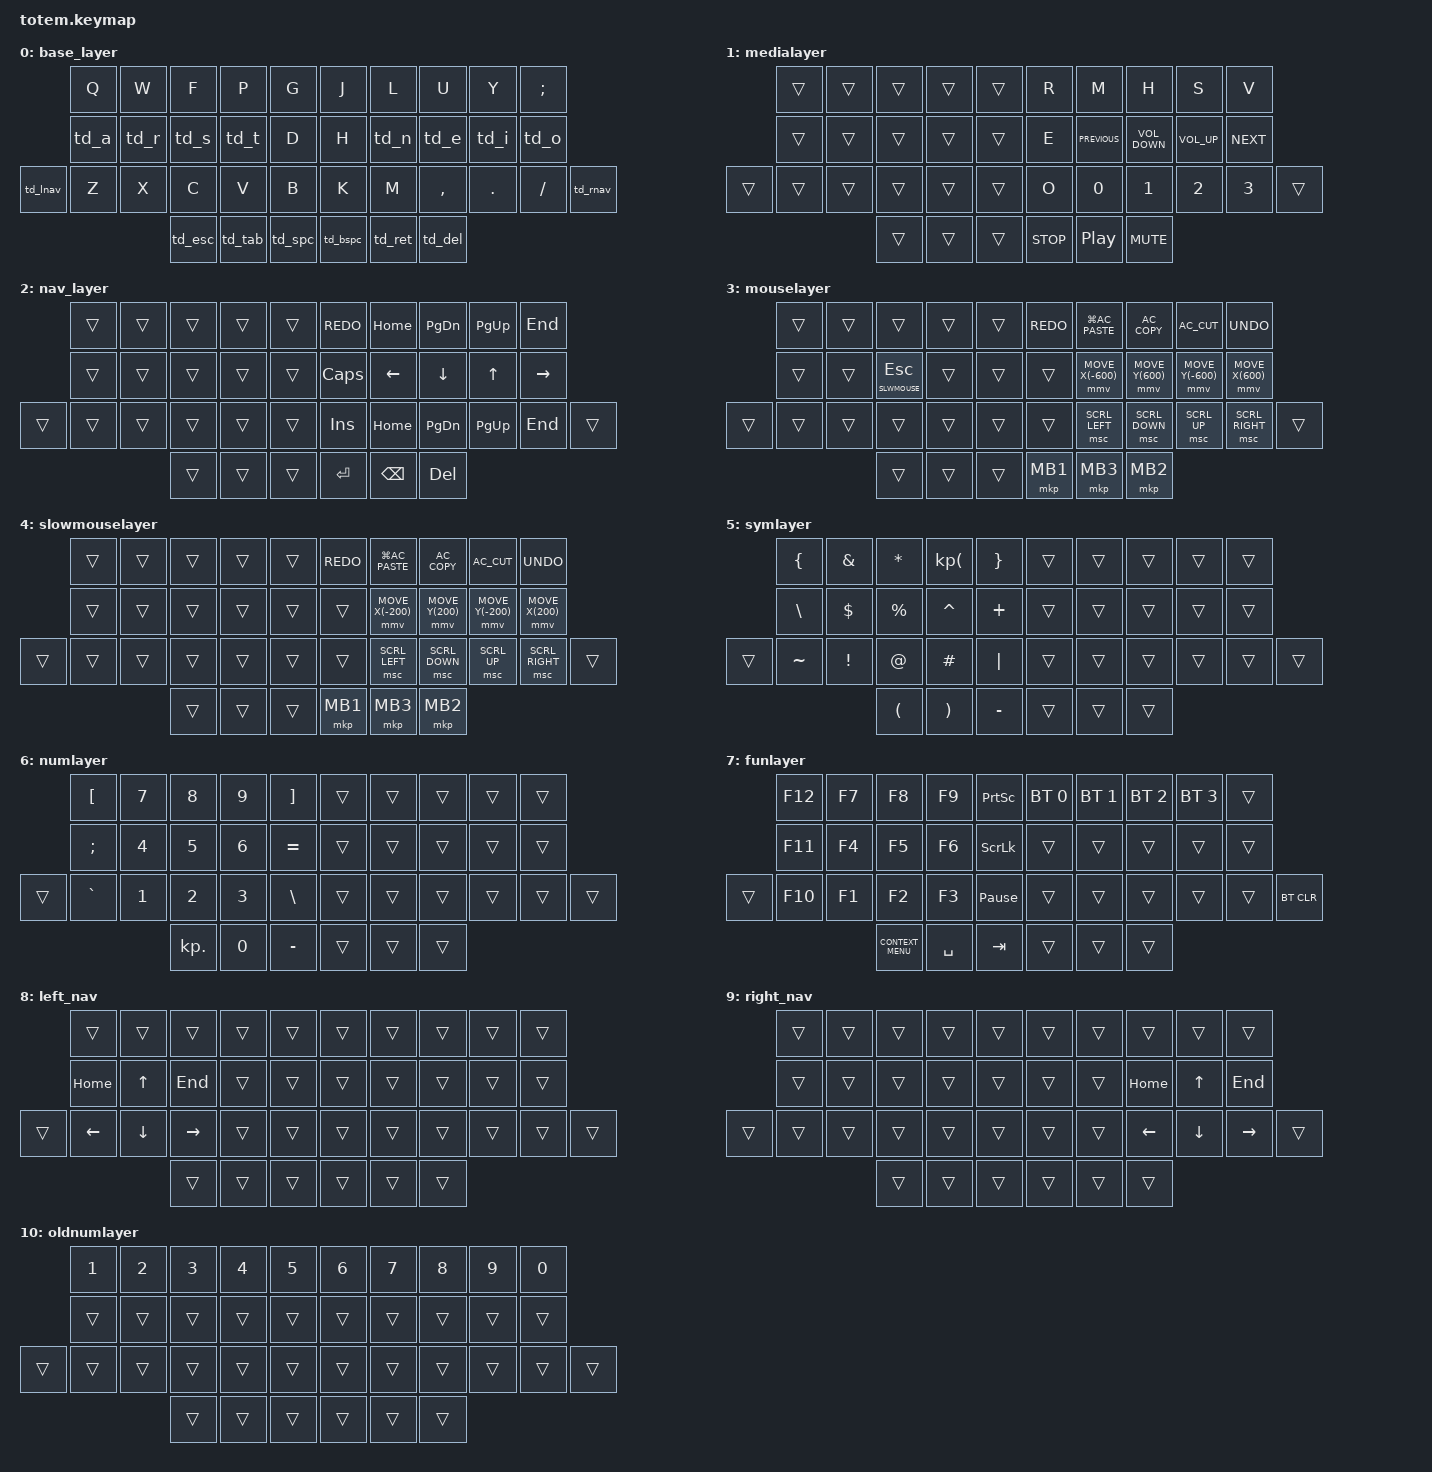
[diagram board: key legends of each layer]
//
//                                                        ▀▀▀▀▀     ▀▀▀▀▀          ▀▀█▀▀
//                                                        ▄▀▀▀▄  ▄  ▄▀▀▀▄  ▄  ▄▀▀▀▄  █  ▄▀▀▀▄
//                                                        █   █  █  █   █  █  █   █  █  █   █
//                                                         ▀▀▀   █   ▀▀▀   █   ▀▀▀   ▀   ▀▀▀
//                                                               █      ▄▄▄█▄▄▄    █   █  
//                                                               ▀      █  █  █     █▄█
//                                                             ▀▀▀▀▀    █  █  █      ▀
//                                                                      ▀  ▀  ▀
//
// ▄▄▄▄▄▄▄▄▄▄▄▄▄▄▄▄▄▄▄▄▄▄▄▄▄▄▄▄▄▄▄▄▄▄▄▄▄▄▄▄▄▄▄▄▄▄▄▄▄▄▄▄▄▄▄▄▄▄▄▄▄▄▄▄▄▄▄▄▄▄▄▄▄▄▄▄▄▄▄▄▄▄▄▄▄▄▄▄▄▄▄▄▄▄▄▄▄▄▄▄▄▄▄▄▄▄▄▄▄▄▄▄▄▄▄▄▄▄▄▄▄▄▄▄▄▄▄▄▄▄▄▄▄▄▄▄▄▄▄▄▄▄▄▄▄▄▄▄▄
#define ZMK_POINTING_DEFAULT_MOVE_VAL 15000
#define ZMK_POINTING_DEFAULT_SCRL_VAL 20
#include <behaviors.dtsi>
#include <dt-bindings/zmk/bt.h>
#include <dt-bindings/zmk/keys.h>
#include <dt-bindings/zmk/pointing.h>
#include <input/processors.dtsi>

#define BASE 0
#define MEDIA  1
#define NAV  2
#define MOUSE  3
#define SLWMOUSE 4
#define SYM 5
#define NUM 6
#define FUN 7
#define LNAV 8
#define RNAV 9
#define NNUM 10

&mt {
    quick-tap-ms = <150>;
    flavor = "tap-preferred";
    tapping-term-ms = <200>;
};

/ {
    combos {
        compatible = "zmk,combos";

        combo_esc {
            timeout-ms = <50>;
            key-positions = <0 1>;
            bindings = <&kp ESC>;
        };
    };

    macros {
        gif: gif {
            compatible = "zmk,behavior-macro";
            #binding-cells = <0>;
            bindings =
                <&macro_press>,
                <&kp LSHFT>,
                <&macro_tap>,
                <&kp N2>,
                <&macro_release>,
                <&kp LSHFT>,
                <&macro_tap>,
                <&kp G &kp I &kp F>;
        };
    };

    behaviors {
        mup: mup {
            compatible = "zmk,behavior-mod-morph";
            #binding-cells = <0>;
            bindings = <&mmv MOVE_Y(-600)>, <&mmv  MOVE_Y(-200)>;
            mods = <(MOD_LSFT|MOD_RSFT)>;
        };
        
        mdown: mdown {
            compatible = "zmk,behavior-mod-morph";
            #binding-cells = <0>;
            bindings = <&mmv MOVE_Y(600)>, <&mmv  MOVE_Y(200)>;
            mods = <(MOD_LSFT|MOD_RSFT)>;
        };

         mright: mright {
            compatible = "zmk,behavior-mod-morph";
            #binding-cells = <0>;
            bindings = <&mmv MOVE_X(600)>, <&mmv  MOVE_X(200)>;
            mods = <(MOD_LSFT|MOD_RSFT)>;
        };

         mleft: mleft {
            compatible = "zmk,behavior-mod-morph";
            #binding-cells = <0>;
            bindings = <&mmv MOVE_X(-600)>, <&mmv  MOVE_X(-200)>;
            mods = <(MOD_LSFT|MOD_RSFT)>;
        };

        mtl: mtl {
            compatible = "zmk,behavior-hold-tap";
            bindings = <&kp>, <&kp>;

            #binding-cells = <2>;
            tapping-term-ms = <200>;
            quick-tap-ms = <150>;
            flavor = "tap-preferred";
            hold-trigger-key-positions = <5 6 8 15 16 17 18 19 26 27 28 29 30 35 36 37 5 6 7 8 9 15 16 17 18 19 26 27 28 29 30 31 35 36 37>;
        };

        mtr: mtr {
            compatible = "zmk,behavior-hold-tap";
            bindings = <&kp>, <&kp>;

            #binding-cells = <2>;
            tapping-term-ms = <200>;
            quick-tap-ms = <100>;
            flavor = "tap-preferred";
            hold-trigger-key-positions = <0 1 2 3 4 10 11 12 13 14 20 21 22 23 24 25 32 33 34>;
        };
                    // ── tap dances for home row mods (double-tap+hold = repeat key) ─
        td_a: td_a { compatible = "zmk,behavior-tap-dance"; #binding-cells = <0>; tapping-term-ms = <200>; bindings = <&mtl LEFT_META A>, <&kp A>; };
        td_r: td_r { compatible = "zmk,behavior-tap-dance"; #binding-cells = <0>; tapping-term-ms = <200>; bindings = <&mtl LCTRL R>,    <&kp R>; };
        td_s: td_s { compatible = "zmk,behavior-tap-dance"; #binding-cells = <0>; tapping-term-ms = <200>; bindings = <&mtl LALT S>,     <&kp S>; };
        td_t: td_t { compatible = "zmk,behavior-tap-dance"; #binding-cells = <0>; tapping-term-ms = <200>; bindings = <&mtl LSHFT T>,    <&kp T>; };

        td_n: td_n { compatible = "zmk,behavior-tap-dance"; #binding-cells = <0>; tapping-term-ms = <200>; bindings = <&mtr RSHFT N>,  <&kp N>; };
        td_e: td_e { compatible = "zmk,behavior-tap-dance"; #binding-cells = <0>; tapping-term-ms = <200>; bindings = <&mtr LALT E>,   <&kp E>; };
        td_i: td_i { compatible = "zmk,behavior-tap-dance"; #binding-cells = <0>; tapping-term-ms = <200>; bindings = <&mtr LCTRL I>,  <&kp I>; };
        td_o: td_o { compatible = "zmk,behavior-tap-dance"; #binding-cells = <0>; tapping-term-ms = <200>; bindings = <&mtr LCMD O>,   <&kp O>; };

        // ── tap dances for layer-tap keys (double-tap+hold = repeat tap key) ─
        td_esc:  td_esc  { compatible = "zmk,behavior-tap-dance"; #binding-cells = <0>; tapping-term-ms = <200>; bindings = <&lt MEDIA ESCAPE>,  <&kp ESCAPE>; };
        td_tab:  td_tab  { compatible = "zmk,behavior-tap-dance"; #binding-cells = <0>; tapping-term-ms = <200>; bindings = <&lt MOUSE TAB>,      <&kp TAB>; };
        td_spc:  td_spc  { compatible = "zmk,behavior-tap-dance"; #binding-cells = <0>; tapping-term-ms = <200>; bindings = <&lt NAV SPACE>,       <&kp SPACE>; };
        td_bspc: td_bspc { compatible = "zmk,behavior-tap-dance"; #binding-cells = <0>; tapping-term-ms = <200>; bindings = <&lt SYM BACKSPACE>,   <&kp BACKSPACE>; };
        td_ret:  td_ret  { compatible = "zmk,behavior-tap-dance"; #binding-cells = <0>; tapping-term-ms = <200>; bindings = <&lt NUM RETURN>,      <&kp RETURN>; };
        td_del:  td_del  { compatible = "zmk,behavior-tap-dance"; #binding-cells = <0>; tapping-term-ms = <200>; bindings = <&lt FUN DELETE>,      <&kp DELETE>; };

        // ── thumb ESC (left outer thumb, was lt LNAV ESC) ───────────────
        td_lnav: td_lnav { compatible = "zmk,behavior-tap-dance"; #binding-cells = <0>; tapping-term-ms = <200>; bindings = <&lt LNAV ESC>, <&kp ESC>; };
        td_rnav: td_rnav { compatible = "zmk,behavior-tap-dance"; #binding-cells = <0>; tapping-term-ms = <200>; bindings = <&lt RNAV SINGLE_QUOTE>, <&kp SINGLE_QUOTE>; };
    };

    keymap {
        compatible = "zmk,keymap";

        // ▄▄▄▄▄▄▄▄▄▄▄▄▄▄▄▄▄▄▄▄▄▄▄▄▄▄▄▄▄▄▄▄▄▄▄▄▄▄▄▄▄▄▄▄▄▄▄▄▄▄▄▄▄▄▄▄▄▄▄▄▄▄▄▄▄▄▄▄▄▄▄▄▄▄▄▄▄▄▄▄▄▄▄▄▄▄▄▄▄▄▄▄▄▄▄▄▄▄▄▄▄▄▄▄▄▄▄▄▄▄▄▄▄▄▄▄▄▄▄▄▄▄▄▄▄▄▄▄▄▄▄▄▄▄▄▄▄▄▄▄▄▄▄▄▄▄▄▄▄

        base_layer {
            // ┏━━━━━━━━━━━━━━━━━━━━━━━━━━━━━━━━━━━━━━━┓
            // ┗━━━━━━━━━━━━━━━━━━━━━━━━━━━━━━━━━━━━━━━┛
            //             ┏━━━━━━━━━━━┳━━━━━━━━━━━┳━━━━━━━━━━━┳━━━━━━━━━━━┳━━━━━━━━━━━┓   ┏━━━━━━━━━━━┳━━━━━━━━━━━┳━━━━━━━━━━━┳━━━━━━━━━━━┳━━━━━━━━━━━┓
            //             ┃     Q     ┃     W     ┃     F     ┃     P     ┃     G     ┃   ┃     J     ┃     L     ┃     U     ┃     Y     ┃     ;     ┃
            //             ┣━━━━━━━━━━━╋━━━━━━━━━━━╋━━━━━━━━━━━╋━━━━━━━━━━━╋━━━━━━━━━━━┫   ┣━━━━━━━━━━━╋━━━━━━━━━━━╋━━━━━━━━━━━╋━━━━━━━━━━━╋━━━━━━━━━━━┫
            //             ┃     A     ┃     R     ┃     S     ┃     T     ┃     D     ┃   ┃     H     ┃     N     ┃     E     ┃     I     ┃     O     ┃
            // ┏━━━━━━━━━━━╋━━━━━━━━━━━╋━━━━━━━━━━━╋━━━━━━━━━━━╋━━━━━━━━━━━╋━━━━━━━━━━━┫   ┣━━━━━━━━━━━╋━━━━━━━━━━━╋━━━━━━━━━━━╋━━━━━━━━━━━╋━━━━━━━━━━━╋━━━━━━━━━━━┓
            // ┃     Q     ┃     Z     ┃     X     ┃     C     ┃     V     ┃     B     ┃   ┃     K     ┃     M     ┃     ,     ┃     .     ┃     /     ┃     \     ┃
            // ┗━━━━━━━━━━━┻━━━━━━━━━━━┻━━━━━━━━━━━╋━━━━━━━━━━━╋━━━━━━━━━━━╋━━━━━━━━━━━┫   ┣━━━━━━━━━━━╋━━━━━━━━━━━╋━━━━━━━━━━━╋━━━━━━━━━━━┻━━━━━━━━━━━┻━━━━━━━━━━━┛
            //                                     ┃    DEL    ┃    TAB    ┃    SPC    ┃   ┃   ENTER   ┃           ┃   BSPC    ┃
            //                                     ┗━━━━━━━━━━━┻━━━━━━━━━━━┻━━━━━━━━━━━┛   ┗━━━━━━━━━━━┻━━━━━━━━━━━┻━━━━━━━━━━━┛

            bindings = <
            &kp Q    &kp W    &kp F    &kp P    &kp G      &kp J     &kp L    &kp U      &kp Y     &kp SEMI
           &td_a    &td_r    &td_s    &td_t    &kp D      &kp H     &td_n    &td_e      &td_i     &td_o
&td_lnav   &kp Z    &kp X  &kp C  &kp V   &kp B      &kp K     &kp M    &kp COMMA  &kp DOT  &kp FSLH  &td_rnav
                             &td_esc  &td_tab  &td_spc    &td_bspc  &td_ret  &td_del
            >;
        };

        medialayer {
            bindings = <
        &trans  &trans  &trans  &trans  &trans    &kp R       &kp M             &kp H              &kp S            &kp V
        &trans  &trans  &trans  &trans  &trans    &kp E       &kp K_PREVIOUS    &kp C_VOLUME_DOWN  &kp C_VOLUME_UP  &kp C_NEXT
&trans  &trans  &trans  &trans  &trans  &trans    &kp O       &kp N0            &kp N1             &kp N2           &kp N3      &trans
                        &trans  &trans  &trans    &kp C_STOP  &kp C_PLAY_PAUSE  &kp C_MUTE
            >;
        };

        nav_layer {
            // ┏━━━━━━━━━━━━━━━━━━━━━━━━━━━━━━━━━━━━━━━┓

            // ┗━━━━━━━━━━━━━━━━━━━━━━━━━━━━━━━━━━━━━━━┛
            //             ┏━━━━━━━━━━━┳━━━━━━━━━━━┳━━━━━━━━━━━┳━━━━━━━━━━━┳━━━━━━━━━━━┓   ┏━━━━━━━━━━━┳━━━━━━━━━━━┳━━━━━━━━━━━┳━━━━━━━━━━━┳━━━━━━━━━━━┓
            //             ┃           ┃           ┃     UP    ┃           ┃     {     ┃   ┃     }     ┃     7     ┃     8     ┃     9     ┃     +     ┃
            //             ┣━━━━━━━━━━━╋━━━━━━━━━━━╋━━━━━━━━━━━╋━━━━━━━━━━━╋━━━━━━━━━━━┫   ┣━━━━━━━━━━━╋━━━━━━━━━━━╋━━━━━━━━━━━╋━━━━━━━━━━━╋━━━━━━━━━━━┫
            //             ┃   SHIFT   ┃   LEFT    ┃    DOWN   ┃   RIGHT   ┃     [     ┃   ┃     ]     ┃     4     ┃     5     ┃     6     ┃     -     ┃
            // ┏━━━━━━━━━━━╋━━━━━━━━━━━╋━━━━━━━━━━━╋━━━━━━━━━━━╋━━━━━━━━━━━╋━━━━━━━━━━━┫   ┣━━━━━━━━━━━╋━━━━━━━━━━━╋━━━━━━━━━━━╋━━━━━━━━━━━╋━━━━━━━━━━━╋━━━━━━━━━━━┓
            // ┃           ┃           ┃   P UP    ┃  C LOCK   ┃  P DOWN   ┃     (     ┃   ┃     )     ┃     1     ┃     2     ┃     3     ┃     *     ┃           ┃
            // ┗━━━━━━━━━━━┻━━━━━━━━━━━┻━━━━━━━━━━━╋━━━━━━━━━━━╋━━━━━━━━━━━╋━━━━━━━━━━━┫   ┣━━━━━━━━━━━╋━━━━━━━━━━━╋━━━━━━━━━━━╋━━━━━━━━━━━┻━━━━━━━━━━━┻━━━━━━━━━━━┛
            //                                     ┃           ┃    TAB    ┃    SPC    ┃   ┃    DEL    ┃     0     ┃           ┃
            //                                     ┗━━━━━━━━━━━┻━━━━━━━━━━━┻━━━━━━━━━━━┛   ┗━━━━━━━━━━━┻━━━━━━━━━━━┻━━━━━━━━━━━┛

            bindings = <
        &trans  &trans  &trans  &trans  &trans    &kp K_REDO    &kp HOME        &kp PG_DN      &kp PG_UP     &kp END
        &trans  &trans  &trans  &trans  &trans    &kp CAPSLOCK  &kp LEFT        &kp DOWN       &kp UP_ARROW  &kp RIGHT
&trans  &trans  &trans  &trans  &trans  &trans    &kp INSERT    &kp HOME        &kp PG_DN      &kp PAGE_UP   &kp END     &trans
                        &trans  &trans  &trans    &kp ENTER     &kp BACKSPACE   &kp DELETE
            >;
        };

        mouselayer {
            bindings = <
        &trans  &trans  &trans  &trans  &trans    &kp K_REDO  &kp LG(C_AC_PASTE)  &kp C_AC_COPY   &kp C_AC_CUT  &kp K_UNDO
        &trans  &trans  &lt SLWMOUSE ESCAPE  &trans  &trans   &trans      &mmv MOVE_X(-600)  &mmv MOVE_Y(600)  &mmv MOVE_Y(-600)  &mmv MOVE_X(600)
&trans  &trans  &trans  &trans  &trans  &trans    &trans      &msc SCRL_LEFT    &msc SCRL_DOWN  &msc SCRL_UP  &msc SCRL_RIGHT  &trans
                        &trans  &trans  &trans    &mkp MB1    &mkp MB3            &mkp MB2
            >;
        };

        slowmouselayer {
            bindings = <
        &trans  &trans  &trans  &trans  &trans    &kp K_REDO  &kp LG(C_AC_PASTE)  &kp C_AC_COPY   &kp C_AC_CUT  &kp K_UNDO
        &trans  &trans  &trans  &trans  &trans   &trans      &mmv MOVE_X(-200)  &mmv MOVE_Y(200)  &mmv MOVE_Y(-200)  &mmv MOVE_X(200)
&trans  &trans  &trans  &trans  &trans  &trans    &trans      &msc SCRL_LEFT    &msc SCRL_DOWN  &msc SCRL_UP  &msc SCRL_RIGHT  &trans
                        &trans  &trans  &trans    &mkp MB1    &mkp MB3            &mkp MB2
            >;
        };

        symlayer {
            bindings = <
        &kp LEFT_BRACE  &kp AMPERSAND  &kp ASTERISK  &kp KP_LPAR  &kp RIGHT_BRACE    &trans  &trans  &trans  &trans  &trans
        &kp BACKSLASH   &kp DOLLAR     &kp PERCENT   &kp CARET    &kp PLUS           &trans  &trans  &trans  &trans  &trans
&trans  &kp TILDE       &kp EXCL       &kp AT        &kp HASH     &kp PIPE           &trans  &trans  &trans  &trans  &trans  &trans
                                       &kp LPAR      &kp RPAR     &kp MINUS          &trans  &trans  &trans
            >;

        };

        numlayer {
            bindings = <
        &kp LEFT_BRACKET  &kp N7  &kp N8   &kp N9  &kp RIGHT_BRACKET    &trans  &trans  &trans  &trans  &trans
        &kp SEMI          &kp N4  &kp N5   &kp N6  &kp EQUAL            &trans  &trans  &trans  &trans  &trans
&trans  &kp GRAVE         &kp N1  &kp N2   &kp N3        &kp BACKSLASH        &trans  &trans  &trans  &trans  &trans  &trans
                                           &kp KP_DOT  &kp N0        &kp MINUS            &trans  &trans  &trans
            >;
        };

        funlayer {
            bindings = <
        &kp F12  &kp F7  &kp F8              &kp F9     &kp PRINTSCREEN    &bt BT_SEL 0  &bt BT_SEL 1  &bt BT_SEL 2  &bt BT_SEL 3  &trans
        &kp F11  &kp F4  &kp F5              &kp F6     &kp SCROLLLOCK     &trans      &trans      &trans  &trans  &trans
&trans  &kp F10  &kp F1  &kp F2              &kp F3     &kp PAUSE_BREAK    &trans      &trans      &trans  &trans  &trans  &bt BT_CLR
                         &kp K_CONTEXT_MENU  &kp SPACE  &kp TAB            &trans      &trans      &trans
            >;
        };

        left_nav {
     bindings = <
        &trans  &trans  &trans  &trans  &trans    &trans  &trans  &trans  &trans  &trans
        &kp HOME  &kp UP  &kp END  &trans  &trans    &trans  &trans  &trans  &trans  &trans
&trans  &kp LEFT  &kp DOWN  &kp RIGHT  &trans  &trans    &trans  &trans  &trans  &trans  &trans  &trans
                        &trans  &trans  &trans    &trans  &trans  &trans
            >;

    };
        right_nav {
     bindings = <
        &trans  &trans  &trans  &trans  &trans    &trans  &trans  &trans  &trans  &trans
        &trans  &trans  &trans  &trans  &trans    &trans  &trans  &kp HOME  &kp UP   &kp END
&trans  &trans  &trans  &trans  &trans  &trans    &trans  &trans  &kp LEFT  &kp DOWN  &kp RIGHT  &trans
                        &trans  &trans  &trans    &trans  &trans  &trans
            >;
    };
    oldnumlayer {
            bindings = <
        &kp N1  &kp N2  &kp N3   &kp N4  &kp N5            &kp N6  &kp N7  &kp N8  &kp N9  &kp N0
        &trans  &trans  &trans  &trans  &trans            &trans  &trans  &trans  &trans  &trans
&trans  &trans  &trans  &trans  &trans  &trans            &trans  &trans  &trans  &trans  &trans  &trans
                        &trans  &trans  &trans            &trans  &trans  &trans
            >;
        };

};

};


// bindings = <
        // &trans  &trans  &trans  &trans  &trans    &trans  &trans  &trans  &trans  &trans
        // &trans  &trans  &trans  &trans  &trans    &trans  &trans  &trans  &trans  &trans
// &trans  &trans  &trans  &trans  &trans  &trans    &trans  &trans  &trans  &trans  &trans  &trans
                        // &trans  &trans  &trans    &trans  &trans  &trans
            // >;


